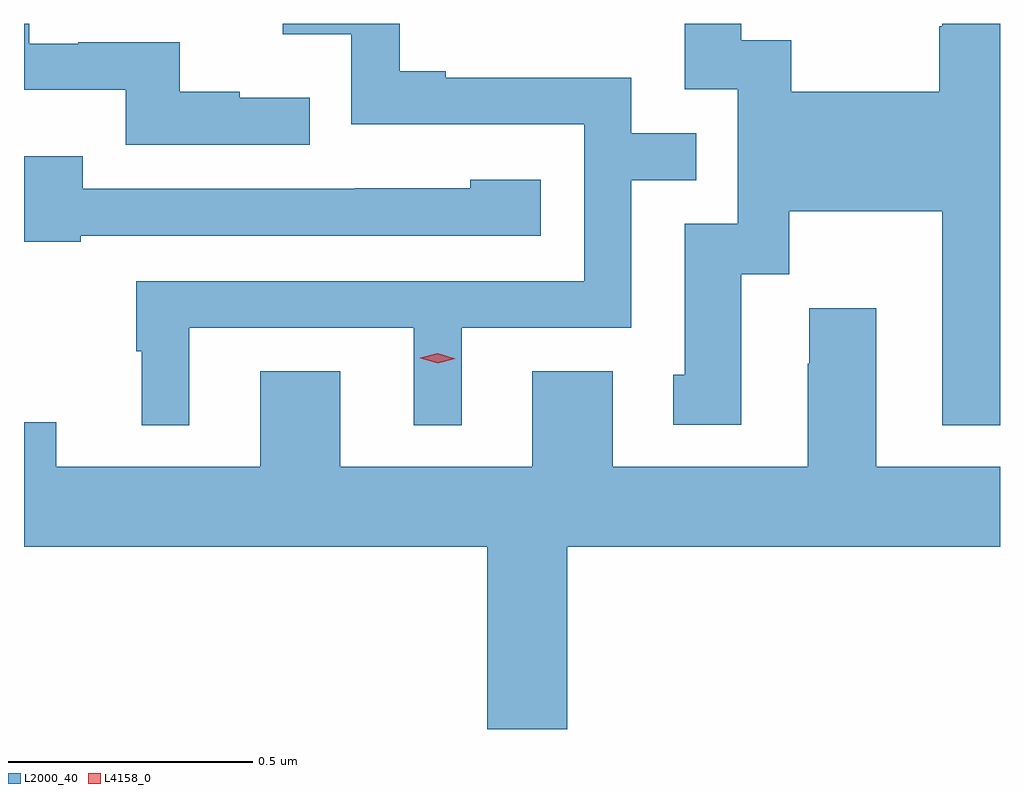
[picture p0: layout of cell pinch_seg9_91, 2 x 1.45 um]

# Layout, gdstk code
import gdstk
lib = gdstk.Library(unit=1e-6, precision=1e-09)
def P(c, l, *ps):  # polygons
    for p in ps: c.add(gdstk.Polygon(p, *l))
L2000_40 = (2000, 40)
L4158_0 = (4158, 0)

pinch_seg9_91 = lib.new_cell('pinch_seg9_91')
P(pinch_seg9_91, L2000_40, [(1111.45,1178.22),(1111.91,1178.22),(1111.91,1178.021),(1112.008,1178.021),(1112.008,1178.22),(1112.355,1178.22),(1112.355,1178.523),(1112.489,1178.523),(1112.489,1178.619),(1112.355,1178.619),(1112.355,1178.733),(1111.975,1178.733),(1111.975,1178.746),(1111.881,1178.746),(1111.881,1178.843),(1111.641,1178.843),(1111.641,1178.822),(1111.782,1178.822),(1111.782,1178.637),(1112.259,1178.637),(1112.259,1178.316),(1111.341,1178.316),(1111.341,1178.172),(1111.352,1178.172),(1111.352,1178.021),(1111.45,1178.021)],
  [(1111.697,1178.692),(1111.553,1178.692),(1111.553,1178.704),(1111.43,1178.704),(1111.43,1178.805),(1111.222,1178.805),(1111.222,1178.802),(1111.122,1178.802),(1111.122,1178.843),(1111.111,1178.843),(1111.111,1178.708),(1111.32,1178.708),(1111.32,1178.595),(1111.697,1178.595)],
  [(1113.111,1178.843),(1112.993,1178.843),(1112.993,1178.838),(1112.986,1178.838),(1112.986,1178.704),(1112.683,1178.704),(1112.683,1178.81),(1112.581,1178.81),(1112.581,1178.843),(1112.465,1178.843),(1112.465,1178.709),(1112.574,1178.709),(1112.574,1178.433),(1112.465,1178.433),(1112.465,1178.124),(1112.441,1178.124),(1112.441,1178.022),(1112.581,1178.022),(1112.581,1178.33),(1112.679,1178.33),(1112.679,1178.459),(1112.993,1178.459),(1112.993,1178.021),(1113.111,1178.021)],
  [(1111.227,1178.409),(1112.17,1178.409),(1112.17,1178.524),(1112.025,1178.524),(1112.025,1178.506),(1111.789,1178.506),(1111.789,1178.505),(1111.231,1178.505),(1111.231,1178.572),(1111.111,1178.572),(1111.111,1178.397),(1111.227,1178.397)],
  [(1112.224,1177.772),(1113.111,1177.772),(1113.111,1177.936),(1112.857,1177.936),(1112.857,1178.26),(1112.72,1178.26),(1112.72,1178.147),(1112.717,1178.147),(1112.717,1177.936),(1112.317,1177.936),(1112.317,1178.131),(1112.153,1178.131),(1112.153,1177.936),(1111.759,1177.936),(1111.759,1178.131),(1111.595,1178.131),(1111.595,1177.936),(1111.177,1177.936),(1111.177,1178.027),(1111.111,1178.027),(1111.111,1177.772),(1112.06,1177.772),(1112.06,1177.398),(1112.224,1177.398)])
P(pinch_seg9_91, L4158_0, [(1111.959,1178.148),(1111.923,1178.158),(1111.923,1178.159),(1111.923,1178.159),(1111.959,1178.168),(1111.995,1178.157),(1111.995,1178.157),(1111.995,1178.157)])

lib.write_gds('pinch_seg9_91.gds')
